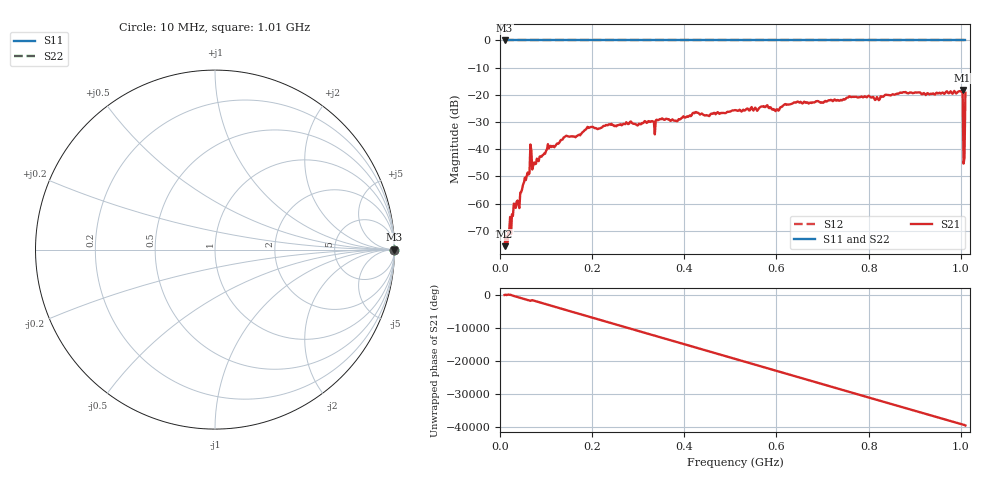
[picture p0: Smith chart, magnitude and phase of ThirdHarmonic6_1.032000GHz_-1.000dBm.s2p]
! 8/16/2025 8:50:07 AM
! C:\ANRITSUVNA\TEMP\TEMP.S2P
! CHANNEL.1
! TR.MEASUREMENT
! RAW.DATA
! RF.CORRECTION.OFF
! AVERAGING.OFF
! IF.BANDWIDTH: 5KHZ
! SWEEPTYPE:  FREQ.SWEEP(Linear)
! Reference Plane Port Info
! PORT:  PORT1  PORT2
! DISTANCE:  0  m  0  m
! TIME:  0  s  0  s
! PHASE.OFFSET:  0  deg.  0  deg.
! LOSS:  0  dB  0  dB
! REF.LOSS:  0  dB  0  dB
! REF.FREQ:  0  Hz  0  Hz
! Power Info
! POWER:  -20  dBm  -20  dBm
! EFF.POWER:  -20  dBm  -20  dBm
! SOURCE.ATTEN:  0  dB  0  dB
! TEST.ATTEN:  0  dB  0  dB
# GHZ S RI R 50.0
! FREQ.GHZ  S11RE  S11IM  S21RE  S21IM  S12RE  S12IM  S22RE  S22IM
!; PortSelection: Port_12
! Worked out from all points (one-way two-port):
!   501 points, 10 MHz to 1.01 GHz, reference 50 ohm
!   highest |S21| = -18.24 dB at 1.004 GHz (marker M1); lowest = -75.6 dB at 10 MHz (marker M2)
!   lowest |S11| = 0.0 dB at 10 MHz (marker M3)
!   |S11| at or under -10 dB: nowhere
!   |S22| runs from 0.0 to 0.0 dB; largest |S21 - S12| = 1.1
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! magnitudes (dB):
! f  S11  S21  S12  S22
! 10 MHz  0.0  -75.6  0.0  0.0
! 20 MHz  0.0  -69.8  0.0  0.0
! 30 MHz  0.0  -60.0  0.0  0.0
! 44 MHz  0.0  -55.9  0.0  0.0
! 50 MHz  0.0  -53.0  0.0  0.0
! 60 MHz  0.0  -48.6  0.0  0.0
! 64 MHz  0.0  -48.8  0.0  0.0
! 70 MHz  0.0  -47.4  0.0  0.0
! 74 MHz  0.0  -44.8  0.0  0.0
! 106 MHz  0.0  -39.7  0.0  0.0
! 178 MHz  0.0  -33.9  0.0  0.0
! 194 MHz  0.0  -32.1  0.0  0.0
! 344 MHz  0.0  -29.3  0.0  0.0
! 510 MHz  0.0  -25.6  0.0  0.0
! 576 MHz  0.0  -24.5  0.0  0.0
! 602 MHz  0.0  -25.3  0.0  0.0
! 642 MHz  0.0  -22.9  0.0  0.0
! 678 MHz  0.0  -22.8  0.0  0.0
! 844 MHz  0.0  -20.1  0.0  0.0
! 1 GHz  0.0  -18.8  0.0  0.0
! 1.004 GHz  0.0  -18.2  0.0  0.0
! 1.01 GHz  0.0  -19.2  0.0  0.0
